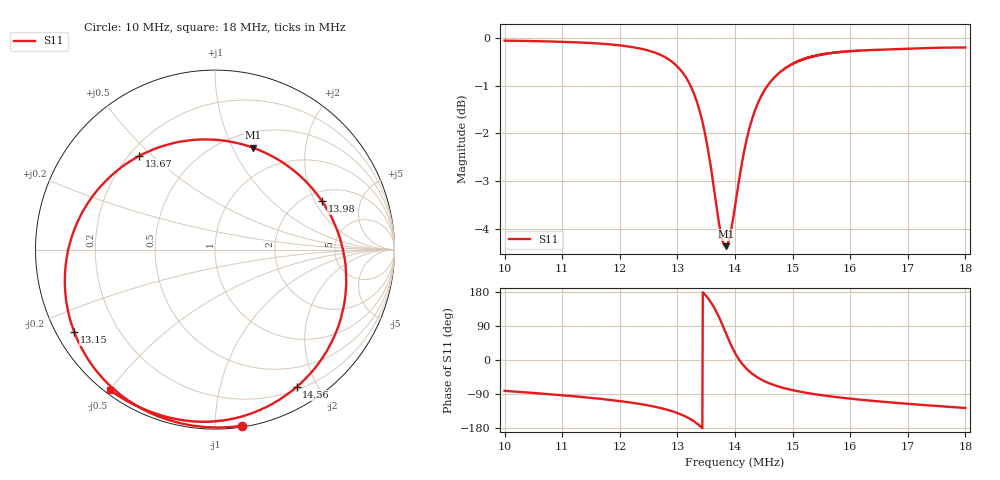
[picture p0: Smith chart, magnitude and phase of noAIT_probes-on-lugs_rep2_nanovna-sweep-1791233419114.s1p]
! NanoVNA Web complex sweep
! Processing: unaveraged complex samples; linear segment spacing; no smoothing
# Hz S RI R 50
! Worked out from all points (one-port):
!   1010 points, 10 MHz to 18 MHz, reference 50 ohm
!   lowest |S11| = -4.4 dB at 13.85 MHz (marker M1), VSWR 4.07, Z = 33.6 + j60.2 ohm
!   |S11| at or under -10 dB: nowhere
!   S11 on the Smith chart (normalised r, x): 10 MHz: 0.01, -1.16; 13.15 MHz: 0.05, -0.27; 13.67 MHz: 0.24, +0.45; 13.98 MHz: 2.41, +2.29; 14.56 MHz: 0.23, -1.73; 18 MHz: 0.01, -0.50
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1e7  0.1493 -0.9818
1.100698e7  -0.0539 -0.9887
1.200604e7  -0.312 -0.9307
1.260071e7  -0.5273 -0.8085
1.282272e7  -0.6277 -0.7148
1.300509e7  -0.7166 -0.5962
1.314781e7  -0.7839 -0.4602
1.330639e7  -0.8337 -0.2413
1.345704e7  -0.8037 0.0523
1.356805e7  -0.673 0.3088
1.367113e7  -0.4235 0.5211
1.375835e7  -0.1179 0.6112
1.379799e7  0.0345 0.6089
1.384556e7  0.2124 0.5671
1.391693e7  0.4457 0.4346
1.398036e7  0.5956 0.2709
1.400414e7  0.6368 0.2033
1.405965e7  0.7014 0.0447
1.412308e7  0.7303 -0.1273
1.427373e7  0.6795 -0.4479
1.440852e7  0.577 -0.6348
1.455918e7  0.4551 -0.7652
1.474947e7  0.3174 -0.8605
1.50032e7  0.1683 -0.924
1.543929e7  -0.0254 -0.9588
1.600225e7  -0.2023 -0.9465
1.700131e7  -0.4203 -0.8785
1.800036e7  -0.5835 -0.7834
